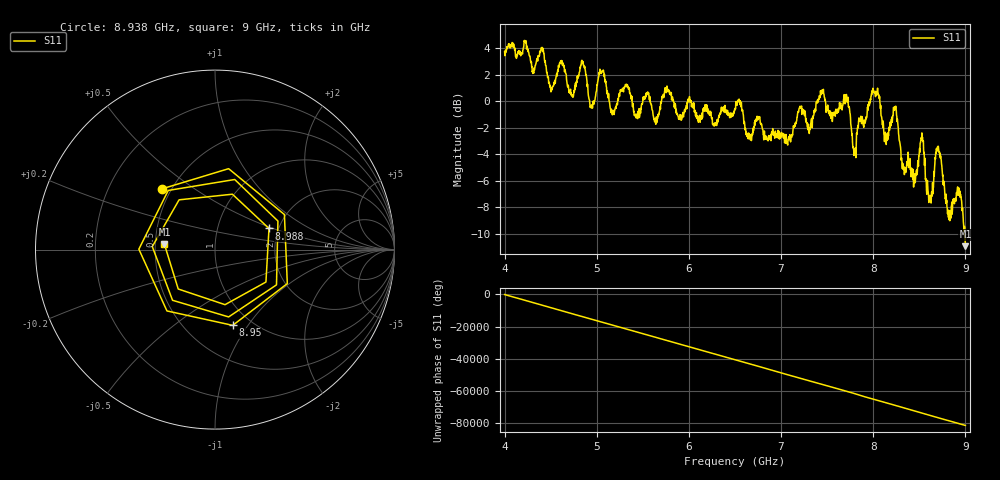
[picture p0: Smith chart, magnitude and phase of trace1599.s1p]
! Created with skrf 1.8.0 (http://scikit-rf.org).
# Hz S RI R 50.0
!freq ReS11 ImS11
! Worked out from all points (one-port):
!   1601 points, 4 GHz to 9 GHz, reference 50 ohm
!   lowest |S11| = -11.0 dB at 9 GHz (marker M1), VSWR 1.79, Z = 28 + j1.8 ohm
!   |S11| at or under -10 dB: 8.993451 GHz to end of sweep
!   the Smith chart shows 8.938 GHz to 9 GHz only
!   S11 on the Smith chart (normalised r, x): 8.938 GHz: 0.45, +0.38; 8.95 GHz: 0.82, -0.85; 8.988 GHz: 1.78, +0.47; 9 GHz: 0.56, +0.04
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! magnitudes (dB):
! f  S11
! 4 GHz  3.7
! 4.406 GHz  4.1
! 4.506 GHz  0.8
! 4.625 GHz  3.0
! 4.725 GHz  0.4
! 4.853 GHz  2.9
! 4.944 GHz  -0.4
! 5.05 GHz  2.1
! 5.166 GHz  -0.9
! 5.25 GHz  0.6
! 5.875 GHz  -1.0
! 6.5 GHz  -0.7
! 7.125 GHz  -2.6
! 7.441 GHz  0.7
! 7.75 GHz  -1.0
! 7.8 GHz  -4.0
! 8.038 GHz  0.5
! 8.141 GHz  -3.3
! 8.244 GHz  -0.4
! 8.375 GHz  -4.8
! 8.528 GHz  -2.4
! 8.622 GHz  -7.4
! 8.703 GHz  -3.4
! 8.819 GHz  -8.5
! 8.938 GHz  -7.0
! 8.95 GHz  -7.3
! 8.988 GHz  -9.8
! 9 GHz  -11.0
